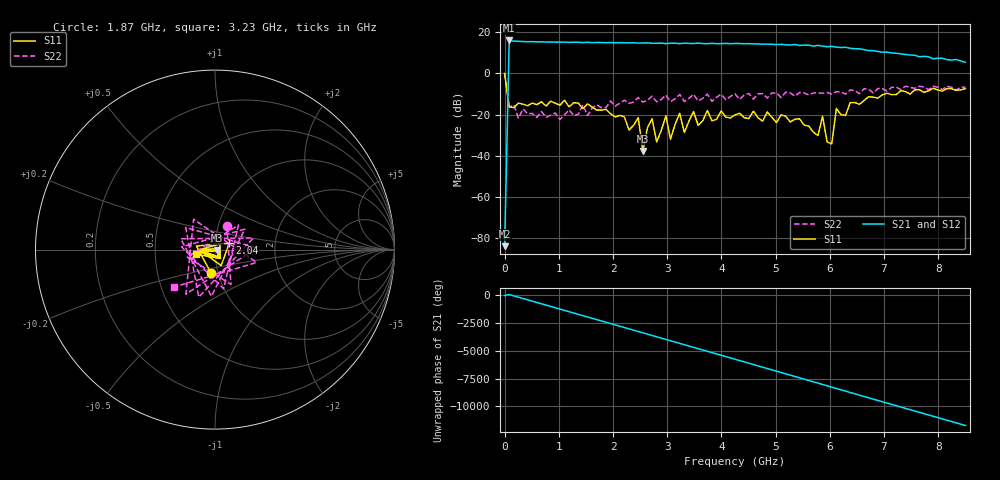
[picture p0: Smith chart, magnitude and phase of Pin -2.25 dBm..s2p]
! RsaToolbox (C) 2013 Rohde & Schwarz America
! Number of points: 101
! Number of ports: 2
! Balanced ports?: 0
# Hz S RI R 50
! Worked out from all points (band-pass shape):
!   101 points, 9 kHz to 8.5 GHz, reference 50 ohm
!   highest |S21| = 16.03 dB at 85.01 MHz (marker M1); lowest = -84.0 dB at 9 kHz (marker M2)
!   |S21| within 3 dB of the highest: 82.46 MHz to 5.941 GHz (5.859 GHz wide, 195 % of centre); 5.963 GHz to 6.069 GHz (106.2 MHz wide, 1.77 % of centre)
!   lowest |S11| = -37.7 dB at 2.55 GHz (marker M3), VSWR 1.03, Z = 51.2 - j0.49 ohm
!   |S11| at or under -10 dB: 52.79 MHz to 7.01 GHz (6.958 GHz wide, 197 % of centre); 7.101 GHz to 7.238 GHz (137.3 MHz wide, 1.91 % of centre); 7.478327 GHz to 7.480981 GHz (2.654 MHz wide, 0.0355 % of centre)
!   |S22| runs from -22.4 to 0.1 dB; largest |S21 - S12| = 0
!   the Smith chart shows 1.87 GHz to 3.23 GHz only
!   S11 on the Smith chart (normalised r, x): 1.87 GHz: 0.93, -0.25; 2.04 GHz: 1.17, +0.08; 3.23 GHz: 0.81, -0.04
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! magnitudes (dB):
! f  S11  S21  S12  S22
! 9 kHz  0.0  -84.0  -84.0  0.1
! 85.01 MHz  -16.1  16.0  16.0  -16.6
! 1.445 GHz  -17.1  15.0  15.0  -15.3
! 1.87 GHz  -17.5  14.9  14.9  -16.6
! 2.04 GHz  -21.2  14.9  14.9  -15.9
! 2.465 GHz  -21.5  14.8  14.8  -11.7
! 2.55 GHz  -37.7  14.8  14.8  -14.0
! 2.72 GHz  -22.0  14.6  14.6  -11.1
! 2.805 GHz  -33.3  14.7  14.7  -13.8
! 2.89 GHz  -27.7  14.8  14.8  -12.7
! 2.975 GHz  -20.6  14.5  14.5  -10.6
! 3.06 GHz  -32.0  14.7  14.7  -13.7
! 3.23 GHz  -19.4  14.5  14.5  -10.2
! 3.315 GHz  -28.7  14.7  14.7  -13.6
! 3.485 GHz  -18.5  14.5  14.5  -10.2
! 4.25 GHz  -20.2  14.6  14.6  -9.9
! 5.695 GHz  -28.5  13.3  13.3  -9.5
! 5.865 GHz  -20.9  13.3  13.3  -9.6
! 6.035 GHz  -34.2  13.2  13.2  -10.1
! 6.12 GHz  -17.0  12.8  12.8  -8.8
! 7.14 GHz  -10.3  10.0  10.0  -6.8
! 8.5 GHz  -7.4  5.4  5.4  -6.7
